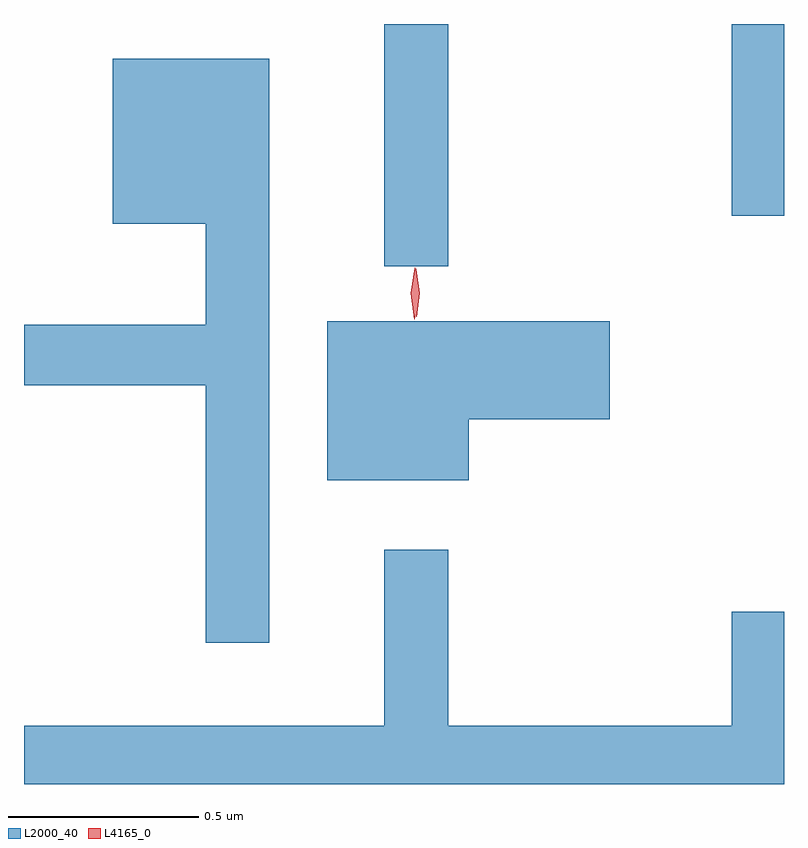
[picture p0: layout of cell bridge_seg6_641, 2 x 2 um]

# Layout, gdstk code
import gdstk
lib = gdstk.Library(unit=1e-6, precision=1e-09)
def R(c, l, rs):  # rectangles x0, y0, x1, y1
    for r in rs: c.add(gdstk.rectangle(r[:2], r[2:], *l))
def P(c, l, *ps):  # polygons
    for p in ps: c.add(gdstk.Polygon(p, *l))
L2000_40 = (2000, 40)
L4165_0 = (4165, 0)

bridge_seg6_641 = lib.new_cell('bridge_seg6_641')
R(bridge_seg6_641, L2000_40, [(573.801,1615.893,573.969,1616.531), (574.716,1616.026,574.853,1616.531)])
P(bridge_seg6_641, L2000_40, [(573.499,1616.439),(573.086,1616.439),(573.086,1616.006),(573.331,1616.006),(573.331,1615.739),(572.853,1615.739),(572.853,1615.581),(573.331,1615.581),(573.331,1614.903),(573.499,1614.903)],
  [(574.024,1615.491),(574.394,1615.491),(574.394,1615.749),(573.651,1615.749),(573.651,1615.331),(574.024,1615.331)],
  [(574.853,1614.984),(574.716,1614.984),(574.716,1614.684),(573.969,1614.684),(573.969,1615.148),(573.801,1615.148),(573.801,1614.684),(572.853,1614.684),(572.853,1614.531),(574.853,1614.531)])
P(bridge_seg6_641, L4165_0, [(573.885,1615.76),(573.885,1615.76),(573.875,1615.823),(573.884,1615.886),(573.885,1615.887),(573.885,1615.886),(573.895,1615.823),(573.886,1615.76)],
  [(573.88,1615.754),(573.88,1615.754),(573.871,1615.822),(573.881,1615.89),(573.882,1615.89),(573.882,1615.89),(573.891,1615.822),(573.881,1615.754)])

lib.write_gds('bridge_seg6_641.gds')
